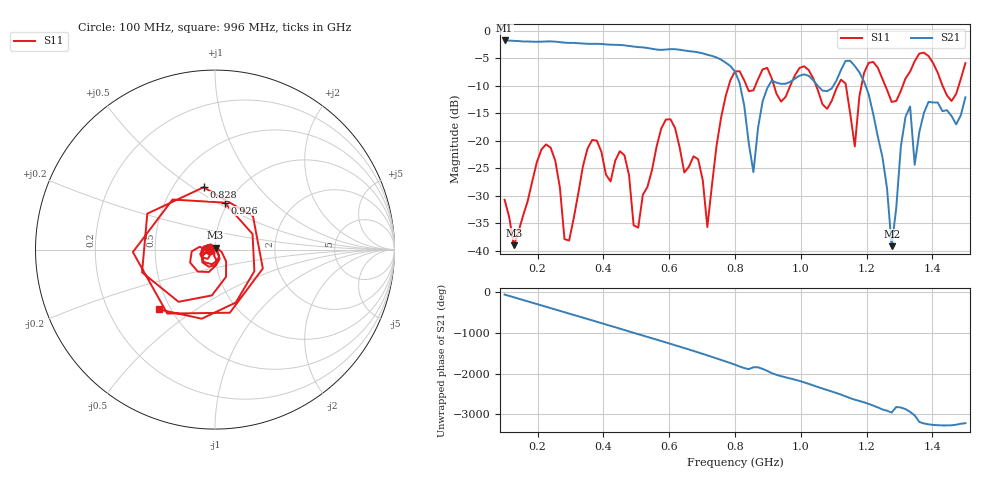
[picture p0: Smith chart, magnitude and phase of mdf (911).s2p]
! NanoVNA-App
! Date: 2025-09-25 15:45:30
! Start: 100MHz Stop: 1,5GHz Points: 101
! S-Parameter data: F S11 S21 S12 S22
# Hz S RI R 50
!  Frequency  S11_Real  S11_Imag  S21_Real  S21_Imag  S12_Real  S12_Imag  S22_Real  S22_Imag
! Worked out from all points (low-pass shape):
!   101 points, 100 MHz to 1.5 GHz, reference 50 ohm
!   highest |S21| = -1.80 dB at 100 MHz (marker M1); lowest = -39.2 dB at 1.276 GHz (marker M2)
!   |S21| within 3 dB of the highest: start of sweep to 739.4 MHz
!   lowest |S11| = -39.0 dB at 128 MHz (marker M3), VSWR 1.02, Z = 50.3 + j1.07 ohm
!   |S11| at or under -10 dB: start of sweep to 781.1 MHz; 1.046 GHz to 1.113 GHz (66.48 MHz wide, 6.16 % of centre); 1.256 GHz to 1.31 GHz (53.5 MHz wide, 4.17 % of centre) (the widest 3 of 7)
!   S12 and S22 are empty: the file has one direction only
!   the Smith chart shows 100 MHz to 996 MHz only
!   S11 on the Smith chart (normalised r, x): 100 MHz: 0.94, -0.01; 828 MHz: 0.70, +0.55; 926 MHz: 0.96, +0.54; 996 MHz: 0.43, -0.36
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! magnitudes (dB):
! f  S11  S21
! 100 MHz  -30.7  -1.8
! 128 MHz  -39.0  -1.9
! 212 MHz  -21.6  -2.0
! 282 MHz  -37.9  -2.2
! 338 MHz  -24.6  -2.4
! 464 MHz  -22.6  -2.7
! 506 MHz  -35.8  -3.0
! 576 MHz  -17.8  -3.5
! 688 MHz  -23.4  -4.0
! 716 MHz  -35.7  -4.4
! 800 MHz  -7.4  -7.4
! 828 MHz  -9.0  -13.6
! 856 MHz  -10.9  -25.7
! 926 MHz  -11.5  -9.5
! 996 MHz  -6.8  -8.2
! 1.038 GHz  -8.7  -9.0
! 1.164 GHz  -21.0  -6.4
! 1.192 GHz  -7.7  -9.3
! 1.276 GHz  -13.0  -39.2
! 1.332 GHz  -7.5  -13.8
! 1.346 GHz  -5.6  -24.4
! 1.5 GHz  -5.9  -12.1
